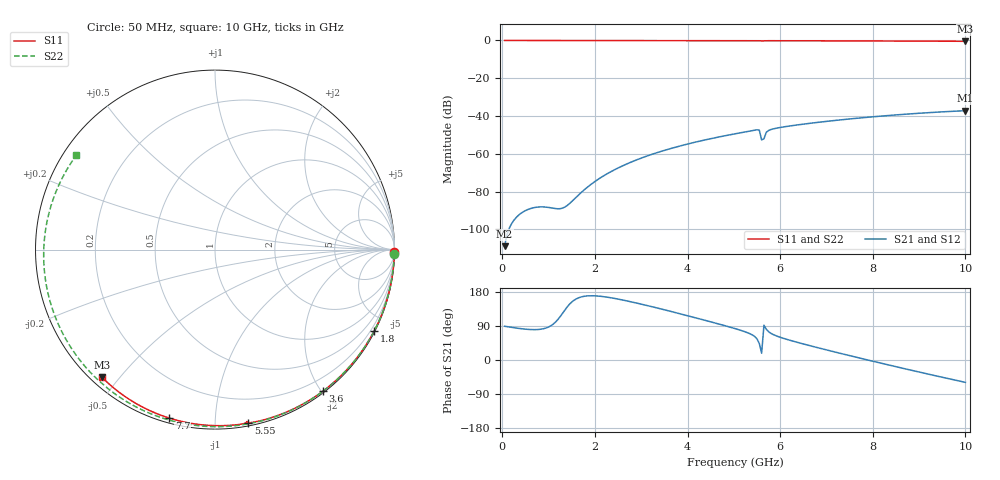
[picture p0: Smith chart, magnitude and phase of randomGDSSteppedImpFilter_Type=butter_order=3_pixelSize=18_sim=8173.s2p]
! freq	dB(S11)	phase(S11)	dB(S12)	phase(S12)
!  dB(S21)	phase(S21)	dB(S22)	phase(S22)
!S-par simulation data
#  GHz  S  DB  R 50
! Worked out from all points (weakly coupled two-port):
!   200 points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, 50 MHz to 10 GHz, reference 50 ohm
!   highest |S21| = -37.17 dB at 10 GHz (marker M1); lowest = -108.9 dB at 50 MHz (marker M2)
!   lowest |S11| = -0.4 dB at 10 GHz (marker M3), VSWR 38.90, Z = 1.55 - j22.5 ohm
!   |S11| at or under -10 dB: nowhere
!   |S22| runs from -0.6 to 0.0 dB; largest |S21 - S12| = 0
!   S11 on the Smith chart (normalised r, x): 50 MHz: open; 1.8 GHz: 0.04, -4.17; 3.6 GHz: 0.02, -2.02; 5.55 GHz: 0.02, -1.21; 7.7 GHz: 0.02, -0.77; 10 GHz: 0.03, -0.45
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0.05  -0.00 -0.8  -108.89 89.0  -108.89 89.0  -0.00 -1.3
0.85  -0.02 -12.8  -88.09 81.6  -88.09 81.6  -0.03 -22.1
1.7  -0.03 -25.5  -80.58 166.3  -80.58 166.3  -0.05 -43.6
1.75  -0.03 -26.2  -79.48 167.7  -79.48 167.7  -0.06 -44.8
1.8  -0.03 -27.0  -78.43 168.7  -78.43 168.7  -0.06 -46.0
2.1  -0.04 -31.4  -73.01 168.4  -73.01 168.4  -0.07 -53.3
2.45  -0.05 -36.4  -68.11 161.9  -68.11 161.9  -0.08 -61.7
2.9  -0.06 -42.9  -63.21 150.2  -63.21 150.2  -0.09 -72.2
3.4  -0.07 -49.9  -58.93 135.6  -58.93 135.6  -0.11 -83.4
3.6  -0.07 -52.7  -57.47 129.5  -57.47 129.5  -0.11 -87.8
4.3  -0.09 -62.3  -53.07 107.2  -53.07 107.2  -0.14 -102.8
5.05  -0.11 -72.3  -49.30 82.1  -49.30 82.1  -0.17 -118.0
5.55  -0.16 -79.1  -47.49 43.6  -47.49 43.6  -0.20 -127.9
5.6  -0.23 -79.6  -52.66 17.9  -52.66 17.9  -0.21 -128.9
5.65  -0.18 -79.7  -52.01 91.8  -52.01 91.8  -0.21 -129.8
5.7  -0.15 -80.4  -48.62 81.2  -48.62 81.2  -0.21 -130.8
5.8  -0.14 -81.8  -47.15 70.3  -47.15 70.3  -0.22 -132.7
6.7  -0.18 -93.1  -43.68 36.0  -43.68 36.0  -0.27 -149.9
7.7  -0.24 -105.1  -41.08 5.6  -41.08 5.6  -0.35 -168.8
8.35  -0.29 -112.7  -39.69 -13.3  -39.69 -13.3  -0.41 178.8
9.2  -0.36 -122.5  -38.22 -37.3  -38.22 -37.3  -0.50 162.1
10  -0.45 -131.5  -37.17 -59.0  -37.17 -59.0  -0.59 145.7
